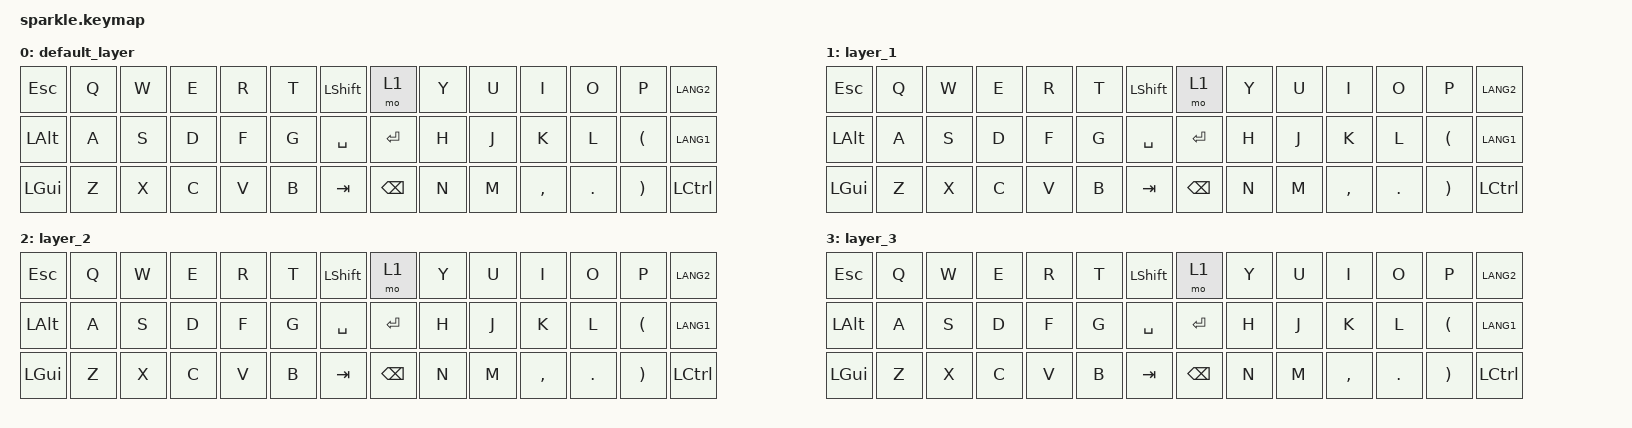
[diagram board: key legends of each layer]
#include <behaviors.dtsi>
#include <dt-bindings/zmk/keys.h>

/ {
    keymap {
        compatible = "zmk,keymap";
        layout = <&physical_layout0>;

        default_layer {
            bindings = <
                &kp ESC     &kp Q     &kp W     &kp E     &kp R     &kp T     &kp LSHIFT    &mo 1        &kp Y     &kp U     &kp I     &kp O     &kp P      &kp LANG2
                &kp LALT    &kp A     &kp S     &kp D     &kp F     &kp G     &kp SPACE     &kp ENTER    &kp H     &kp J     &kp K     &kp L     &kp LPAR   &kp LANG1
                &kp LGUI    &kp Z     &kp X     &kp C     &kp V     &kp B     &kp TAB       &kp BSPC     &kp N     &kp M     &kp COMMA &kp DOT   &kp RPAR   &kp LCTRL
            >;
        };

        layer_1 {
            bindings = <
                &kp ESC     &kp Q     &kp W     &kp E     &kp R     &kp T     &kp LSHIFT    &mo 1        &kp Y     &kp U     &kp I     &kp O     &kp P      &kp LANG2
                &kp LALT    &kp A     &kp S     &kp D     &kp F     &kp G     &kp SPACE     &kp ENTER    &kp H     &kp J     &kp K     &kp L     &kp LPAR   &kp LANG1
                &kp LGUI    &kp Z     &kp X     &kp C     &kp V     &kp B     &kp TAB       &kp BSPC     &kp N     &kp M     &kp COMMA &kp DOT   &kp RPAR   &kp LCTRL
            >;
        };

        layer_2 {
            bindings = <
                &kp ESC     &kp Q     &kp W     &kp E     &kp R     &kp T     &kp LSHIFT    &mo 1        &kp Y     &kp U     &kp I     &kp O     &kp P      &kp LANG2
                &kp LALT    &kp A     &kp S     &kp D     &kp F     &kp G     &kp SPACE     &kp ENTER    &kp H     &kp J     &kp K     &kp L     &kp LPAR   &kp LANG1
                &kp LGUI    &kp Z     &kp X     &kp C     &kp V     &kp B     &kp TAB       &kp BSPC     &kp N     &kp M     &kp COMMA &kp DOT   &kp RPAR   &kp LCTRL
            >;
        };

        layer_3 {
            bindings = <
                &kp ESC     &kp Q     &kp W     &kp E     &kp R     &kp T     &kp LSHIFT    &mo 1        &kp Y     &kp U     &kp I     &kp O     &kp P      &kp LANG2
                &kp LALT    &kp A     &kp S     &kp D     &kp F     &kp G     &kp SPACE     &kp ENTER    &kp H     &kp J     &kp K     &kp L     &kp LPAR   &kp LANG1
                &kp LGUI    &kp Z     &kp X     &kp C     &kp V     &kp B     &kp TAB       &kp BSPC     &kp N     &kp M     &kp COMMA &kp DOT   &kp RPAR   &kp LCTRL
            >;
        };
    };
};
